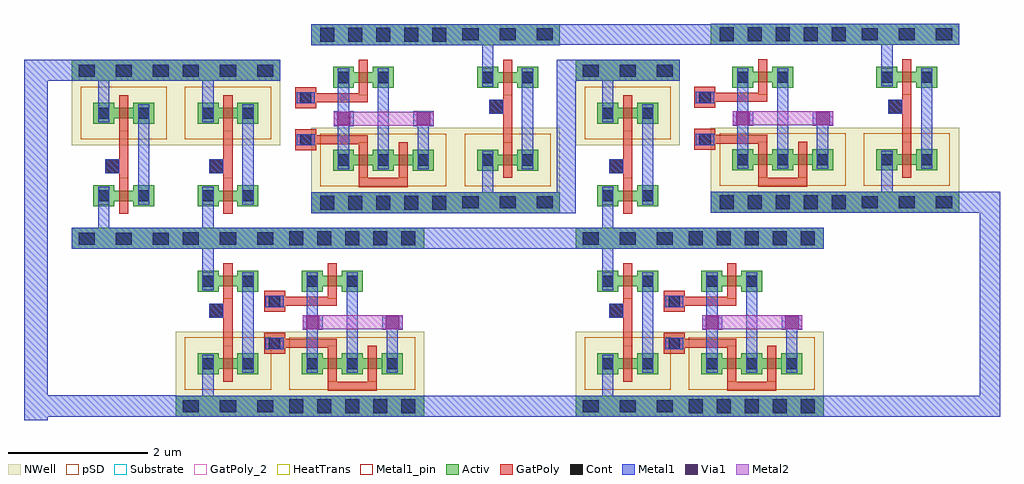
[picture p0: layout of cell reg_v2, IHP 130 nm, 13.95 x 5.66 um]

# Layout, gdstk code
import gdstk
lib = gdstk.Library(unit=1e-6, precision=5e-09)
def R(c, l, rs):  # rectangles x0, y0, x1, y1
    for r in rs: c.add(gdstk.rectangle(r[:2], r[2:], *l))
def A(c, l, x, y, w, h, nx, ny, dx, dy):  # array of equal rectangles
    R(c, l, [(x+i*dx, y+j*dy, x+i*dx+w, y+j*dy+h) for i in range(nx) for j in range(ny)])
Activ = (1, 0)
GatPoly = (5, 0)
GatPoly_2 = (5, 2)
Cont = (6, 0)
Metal1 = (8, 0)
Metal1_pin = (8, 2)
Metal2 = (10, 0)
pSD = (14, 0)
Via1 = (19, 0)
NWell = (31, 0)
Substrate = (40, 0)
HeatTrans = (51, 0)

pmos = lib.new_cell('pmos')
A(pmos, Activ, 0, 0, 0.3, 0.3, 3, 1, 0.57, 0)
R(pmos, Activ, [(0,0.075,1.44,0.225)])
R(pmos, GatPoly, [(0.37,-0.105,0.5,0.405), (0.37,-0.105,0.5,0.405), (0.94,-0.105,1.07,0.405)])
A(pmos, Cont, 0.07, 0.07, 0.16, 0.16, 3, 1, 0.57, 0)
R(pmos, Metal1, [(0.07,0.02,0.23,0.28), (0.07,0.02,0.23,0.28), (0.64,0.02,0.8,0.28), (0.64,0.02,0.8,0.28), (1.21,0.02,1.37,0.28)])
R(pmos, pSD, [(-0.18,-0.225,1.62,0.525)])
R(pmos, NWell, [(-0.31,-0.31,1.75,0.61)])
R(pmos, Substrate, [(1.14,0,1.44,0.3)])
R(pmos, HeatTrans, [(0.37,-0.105,0.5,0.405), (0.94,-0.105,1.07,0.405)])
pmos.add(gdstk.Label('pmos', (0.435,0.15), layer=63, texttype=0))
pmos.add(gdstk.Label('pmos', (0.435,0.15), layer=51, texttype=0))
pmos.add(gdstk.Label('pmos', (1.005,0.15), layer=51, texttype=0))

via_stack_1 = lib.new_cell('via_stack$1')
R(via_stack_1, GatPoly, [(-0.15,-0.15,0.15,0.15)])
R(via_stack_1, Cont, [(-0.08,-0.08,0.08,0.08)])
R(via_stack_1, Metal1, [(-0.13,-0.08,0.13,0.08)])

nmos = lib.new_cell('nmos')
R(nmos, Activ, [(0,0,0.3,0.3), (0.57,0,0.87,0.3), (0,0.075,0.87,0.225)])
R(nmos, GatPoly, [(0.37,-0.105,0.5,0.405)])
R(nmos, GatPoly_2, [(0.37,-0.105,0.5,0.405)])
R(nmos, Cont, [(0.07,0.07,0.23,0.23), (0.64,0.07,0.8,0.23)])
R(nmos, Metal1, [(0.07,0.02,0.23,0.28), (0.64,0.02,0.8,0.28)])
R(nmos, Metal1_pin, [(0.07,0.02,0.23,0.28), (0.64,0.02,0.8,0.28)])
R(nmos, HeatTrans, [(0.37,-0.105,0.5,0.405)])
nmos.add(gdstk.Label('nmos', (0.435,0.15), layer=63, texttype=0))
nmos.add(gdstk.Label('nmos', (0.435,0.15), layer=51, texttype=0))

via_stack_2 = lib.new_cell('via_stack$2')
R(via_stack_2, Metal1, [(-0.145,-0.105,0.145,0.105)])
R(via_stack_2, Metal2, [(-0.145,-0.1,0.145,0.1)])
R(via_stack_2, Via1, [(-0.095,-0.095,0.095,0.095)])

pmos_1 = lib.new_cell('pmos$1')
A(pmos_1, Activ, 0, 0, 0.3, 0.3, 3, 1, 0.57, 0)
R(pmos_1, Activ, [(0,0.075,1.44,0.225)])
R(pmos_1, GatPoly, [(0.37,-0.105,0.5,0.405), (0.37,-0.105,0.5,0.405), (0.94,-0.105,1.07,0.405)])
A(pmos_1, Cont, 0.07, 0.07, 0.16, 0.16, 3, 1, 0.57, 0)
R(pmos_1, Metal1, [(0.07,0.02,0.23,0.28), (0.07,0.02,0.23,0.28), (0.64,0.02,0.8,0.28), (0.64,0.02,0.8,0.28), (1.21,0.02,1.37,0.28)])
R(pmos_1, pSD, [(-0.18,-0.225,1.62,0.525)])
R(pmos_1, NWell, [(-0.31,-0.31,1.75,0.61)])
R(pmos_1, Substrate, [(1.14,0,1.44,0.3)])
R(pmos_1, HeatTrans, [(0.37,-0.105,0.5,0.405), (0.94,-0.105,1.07,0.405)])
pmos_1.add(gdstk.Label('pmos', (0.435,0.15), layer=63, texttype=0))
pmos_1.add(gdstk.Label('pmos', (0.435,0.15), layer=51, texttype=0))
pmos_1.add(gdstk.Label('pmos', (1.005,0.15), layer=51, texttype=0))

via_stack_1_1 = lib.new_cell('via_stack$1$1')
R(via_stack_1_1, GatPoly, [(-0.15,-0.15,0.15,0.15)])
R(via_stack_1_1, Cont, [(-0.08,-0.08,0.08,0.08)])
R(via_stack_1_1, Metal1, [(-0.13,-0.08,0.13,0.08)])

nmos_1 = lib.new_cell('nmos$1')
R(nmos_1, Activ, [(0,0,0.3,0.3), (0.57,0,0.87,0.3), (0,0.075,0.87,0.225)])
R(nmos_1, GatPoly, [(0.37,-0.105,0.5,0.405)])
R(nmos_1, GatPoly_2, [(0.37,-0.105,0.5,0.405)])
R(nmos_1, Cont, [(0.07,0.07,0.23,0.23), (0.64,0.07,0.8,0.23)])
R(nmos_1, Metal1, [(0.07,0.02,0.23,0.28), (0.64,0.02,0.8,0.28)])
R(nmos_1, Metal1_pin, [(0.07,0.02,0.23,0.28), (0.64,0.02,0.8,0.28)])
R(nmos_1, HeatTrans, [(0.37,-0.105,0.5,0.405)])
nmos_1.add(gdstk.Label('nmos', (0.435,0.15), layer=63, texttype=0))
nmos_1.add(gdstk.Label('nmos', (0.435,0.15), layer=51, texttype=0))

via_stack_2_1 = lib.new_cell('via_stack$2$1')
R(via_stack_2_1, Metal1, [(-0.145,-0.105,0.145,0.105)])
R(via_stack_2_1, Metal2, [(-0.145,-0.1,0.145,0.1)])
R(via_stack_2_1, Via1, [(-0.095,-0.095,0.095,0.095)])

tg_custom = lib.new_cell('tg_custom')
R(tg_custom, Activ, [(0.205,1.165,2.265,1.465), (0.205,1.165,2.265,1.465), (0.205,3.565,2.265,3.865), (0.205,3.565,2.265,3.865)])
R(tg_custom, GatPoly, [(0.885,1.67,1.015,2.28), (0.885,1.67,1.015,2.28), (0.125,2.15,1.015,2.28), (0.125,2.15,1.015,2.28), (0.125,2.75,1.015,2.88), (0.125,2.75,1.015,2.88), (0.885,2.75,1.015,3.36), (0.885,2.75,1.015,3.36), (0.885,3.36,1.585,3.49), (0.885,3.36,1.585,3.49)])
R(tg_custom, Cont, [(0.335,1.215,0.535,1.415), (0.335,1.215,0.535,1.415), (0.735,1.215,0.935,1.415), (0.735,1.215,0.935,1.415), (1.135,1.215,1.335,1.415), (1.135,1.215,1.335,1.415), (1.535,1.215,1.735,1.415), (1.535,1.215,1.735,1.415), (1.935,1.215,2.135,1.415), (1.935,1.215,2.135,1.415), (0.335,3.615,0.535,3.815), (0.335,3.615,0.535,3.815), (0.735,3.615,0.935,3.815), (0.735,3.615,0.935,3.815), (1.135,3.615,1.335,3.815), (1.135,3.615,1.335,3.815), (1.535,3.615,1.735,3.815), (1.535,3.615,1.735,3.815), (1.935,3.615,2.135,3.815), (1.935,3.615,2.135,3.815)])
R(tg_custom, Metal1, [(0.205,1.165,2.265,1.465), (0.205,1.165,2.265,1.465), (0.585,1.795,0.745,3.235), (0.585,1.795,0.745,3.235), (1.155,1.795,1.315,3.235), (1.155,1.795,1.315,3.235), (1.725,2.41,1.885,3.235), (1.725,2.41,1.885,3.235), (0.205,3.565,2.265,3.865), (0.205,3.565,2.265,3.865)])
R(tg_custom, Metal1_pin, [(0.205,1.165,2.265,1.465), (0.205,1.165,2.265,1.465), (0.585,1.795,0.745,3.235), (0.585,1.795,0.745,3.235), (1.155,1.795,1.315,3.235), (1.155,1.795,1.315,3.235), (0.205,3.565,2.265,3.865), (0.205,3.565,2.265,3.865)])
R(tg_custom, Metal2, [(0.525,2.415,1.955,2.615), (0.525,2.415,1.955,2.615)])
R(tg_custom, pSD, [(0.205,1.165,2.265,1.465), (0.205,1.165,2.265,1.465)])
R(tg_custom, NWell, [(0.205,3.565,2.265,3.865), (0.205,3.565,2.265,3.865)])
tg_custom.add(gdstk.Reference(pmos, (0.515,2.955)))
tg_custom.add(gdstk.Reference(via_stack_1, (0.125,2.815)))
tg_custom.add(gdstk.Reference(via_stack_1, (0.125,2.215)))
tg_custom.add(gdstk.Reference(nmos, (0.515,1.775)))
tg_custom.add(gdstk.Reference(via_stack_2, (0.67,2.515)))
tg_custom.add(gdstk.Reference(via_stack_2, (1.81,2.515)))
tg_custom.add(gdstk.Reference(pmos_1, (0.515,2.955)))
tg_custom.add(gdstk.Reference(via_stack_1_1, (0.125,2.815)))
tg_custom.add(gdstk.Reference(via_stack_1_1, (0.125,2.215)))
tg_custom.add(gdstk.Reference(nmos_1, (0.515,1.775)))
tg_custom.add(gdstk.Reference(via_stack_2_1, (0.67,2.515)))
tg_custom.add(gdstk.Reference(via_stack_2_1, (1.81,2.515)))
tg_custom.add(gdstk.Label('VIN', (0.605,2.62), layer=8, texttype=25))
tg_custom.add(gdstk.Label('VOUT', (1.16,2.25), layer=8, texttype=25))
tg_custom.add(gdstk.Label('VSN', (0.125,2.215), layer=8, texttype=25))
tg_custom.add(gdstk.Label('VBN', (1.335,1.315), layer=8, texttype=25))
tg_custom.add(gdstk.Label('VSP', (0.125,2.815), layer=8, texttype=25))
tg_custom.add(gdstk.Label('VBP', (1.235,3.715), layer=8, texttype=25))
tg_custom.add(gdstk.Label('VIN', (0.605,2.62), layer=8, texttype=25))
tg_custom.add(gdstk.Label('VOUT', (1.16,2.25), layer=8, texttype=25))
tg_custom.add(gdstk.Label('VSN', (0.125,2.215), layer=8, texttype=25))
tg_custom.add(gdstk.Label('VBN', (1.335,1.315), layer=8, texttype=25))
tg_custom.add(gdstk.Label('VSP', (0.125,2.815), layer=8, texttype=25))
tg_custom.add(gdstk.Label('VBP', (1.235,3.715), layer=8, texttype=25))

pmos_1_1 = lib.new_cell('pmos$1$1')
R(pmos_1_1, Activ, [(0,0,0.3,0.3), (0.57,0,0.87,0.3), (0,0.075,0.87,0.225)])
R(pmos_1_1, GatPoly, [(0.37,-0.105,0.5,0.405), (0.37,-0.105,0.5,0.405)])
R(pmos_1_1, Cont, [(0.07,0.07,0.23,0.23), (0.64,0.07,0.8,0.23)])
R(pmos_1_1, Metal1, [(0.07,0.02,0.23,0.28), (0.07,0.02,0.23,0.28), (0.64,0.02,0.8,0.28), (0.64,0.02,0.8,0.28)])
R(pmos_1_1, pSD, [(-0.18,-0.225,1.05,0.525)])
R(pmos_1_1, NWell, [(-0.31,-0.31,1.18,0.61)])
R(pmos_1_1, Substrate, [(0.57,0,0.87,0.3)])
R(pmos_1_1, HeatTrans, [(0.37,-0.105,0.5,0.405)])
pmos_1_1.add(gdstk.Label('pmos', (0.435,0.15), layer=63, texttype=0))
pmos_1_1.add(gdstk.Label('pmos', (0.435,0.15), layer=51, texttype=0))

nmos_1_1 = lib.new_cell('nmos$1$1')
R(nmos_1_1, Activ, [(0,0,0.3,0.3), (0.57,0,0.87,0.3), (0,0.075,0.87,0.225)])
R(nmos_1_1, GatPoly, [(0.37,-0.105,0.5,0.405)])
R(nmos_1_1, GatPoly_2, [(0.37,-0.105,0.5,0.405)])
R(nmos_1_1, Cont, [(0.07,0.07,0.23,0.23), (0.64,0.07,0.8,0.23)])
R(nmos_1_1, Metal1, [(0.07,0.02,0.23,0.28), (0.64,0.02,0.8,0.28)])
R(nmos_1_1, Metal1_pin, [(0.07,0.02,0.23,0.28), (0.64,0.02,0.8,0.28)])
R(nmos_1_1, HeatTrans, [(0.37,-0.105,0.5,0.405)])
nmos_1_1.add(gdstk.Label('nmos', (0.435,0.15), layer=63, texttype=0))
nmos_1_1.add(gdstk.Label('nmos', (0.435,0.15), layer=51, texttype=0))

pmos_1_2 = lib.new_cell('pmos$1$2')
R(pmos_1_2, Activ, [(0,0,0.3,0.3), (0.57,0,0.87,0.3), (0,0.075,0.87,0.225)])
R(pmos_1_2, GatPoly, [(0.37,-0.105,0.5,0.405), (0.37,-0.105,0.5,0.405)])
R(pmos_1_2, Cont, [(0.07,0.07,0.23,0.23), (0.64,0.07,0.8,0.23)])
R(pmos_1_2, Metal1, [(0.07,0.02,0.23,0.28), (0.07,0.02,0.23,0.28), (0.64,0.02,0.8,0.28), (0.64,0.02,0.8,0.28)])
R(pmos_1_2, pSD, [(-0.18,-0.225,1.05,0.525)])
R(pmos_1_2, NWell, [(-0.31,-0.31,1.18,0.61)])
R(pmos_1_2, Substrate, [(0.57,0,0.87,0.3)])
R(pmos_1_2, HeatTrans, [(0.37,-0.105,0.5,0.405)])
pmos_1_2.add(gdstk.Label('pmos', (0.435,0.15), layer=63, texttype=0))
pmos_1_2.add(gdstk.Label('pmos', (0.435,0.15), layer=51, texttype=0))

nmos_1_2 = lib.new_cell('nmos$1$2')
R(nmos_1_2, Activ, [(0,0,0.3,0.3), (0.57,0,0.87,0.3), (0,0.075,0.87,0.225)])
R(nmos_1_2, GatPoly, [(0.37,-0.105,0.5,0.405)])
R(nmos_1_2, GatPoly_2, [(0.37,-0.105,0.5,0.405)])
R(nmos_1_2, Cont, [(0.07,0.07,0.23,0.23), (0.64,0.07,0.8,0.23)])
R(nmos_1_2, Metal1, [(0.07,0.02,0.23,0.28), (0.64,0.02,0.8,0.28)])
R(nmos_1_2, Metal1_pin, [(0.07,0.02,0.23,0.28), (0.64,0.02,0.8,0.28)])
R(nmos_1_2, HeatTrans, [(0.37,-0.105,0.5,0.405)])
nmos_1_2.add(gdstk.Label('nmos', (0.435,0.15), layer=63, texttype=0))
nmos_1_2.add(gdstk.Label('nmos', (0.435,0.15), layer=51, texttype=0))

inv = lib.new_cell('inv')
R(inv, Activ, [(0.24,0.255,1.73,0.555), (0.24,0.255,1.73,0.555), (0.24,2.655,1.73,2.955), (0.24,2.655,1.73,2.955)])
R(inv, GatPoly, [(0.92,0.76,1.05,2.45), (0.92,0.76,1.05,2.45), (0.72,1.335,0.92,1.535), (0.72,1.335,0.92,1.535)])
R(inv, Cont, [(0.34,0.315,0.57,0.485), (0.34,0.315,0.57,0.485), (0.87,0.315,1.1,0.485), (0.87,0.315,1.1,0.485), (1.4,0.315,1.63,0.485), (1.4,0.315,1.63,0.485), (0.72,1.335,0.92,1.535), (0.72,1.335,0.92,1.535), (0.34,2.715,0.57,2.885), (0.34,2.715,0.57,2.885), (0.87,2.715,1.1,2.885), (0.87,2.715,1.1,2.885), (1.4,2.715,1.63,2.885), (1.4,2.715,1.63,2.885)])
R(inv, Metal1, [(0.24,0.255,1.73,0.555), (0.24,0.255,1.73,0.555), (0.62,0.255,0.78,1.145), (0.62,0.255,0.78,1.145), (1.19,0.885,1.35,2.325), (1.19,0.885,1.35,2.325), (0.72,1.335,0.92,1.535), (0.72,1.335,0.92,1.535), (0.62,2.065,0.78,2.955), (0.62,2.065,0.78,2.955), (0.24,2.655,1.73,2.955), (0.24,2.655,1.73,2.955)])
R(inv, Metal1_pin, [(0.24,0.255,1.73,0.555), (0.24,0.255,1.73,0.555), (1.19,0.885,1.35,2.325), (1.19,0.885,1.35,2.325), (0.72,1.335,0.92,1.535), (0.72,1.335,0.92,1.535), (0.24,2.655,1.73,2.955), (0.24,2.655,1.73,2.955)])
R(inv, pSD, [(0.24,0.255,1.73,0.555), (0.24,0.255,1.73,0.555)])
R(inv, NWell, [(0.24,2.655,1.73,2.955), (0.24,2.655,1.73,2.955)])
inv.add(gdstk.Reference(pmos_1_1, (0.55,2.045)))
inv.add(gdstk.Reference(nmos_1_1, (0.55,0.865)))
inv.add(gdstk.Reference(pmos_1_2, (0.55,2.045)))
inv.add(gdstk.Reference(nmos_1_2, (0.55,0.865)))
inv.add(gdstk.Label('VIN', (0.78,1.435), layer=8, texttype=25))
inv.add(gdstk.Label('VSS', (0.95,0.37), layer=8, texttype=25))
inv.add(gdstk.Label('VOUT', (1.2,1.665), layer=8, texttype=25))
inv.add(gdstk.Label('VDD', (0.96,2.805), layer=8, texttype=25))
inv.add(gdstk.Label('VIN', (0.78,1.435), layer=8, texttype=25))
inv.add(gdstk.Label('VSS', (0.95,0.37), layer=8, texttype=25))
inv.add(gdstk.Label('VOUT', (1.2,1.665), layer=8, texttype=25))
inv.add(gdstk.Label('VDD', (0.96,2.805), layer=8, texttype=25))

reg_v2 = lib.new_cell('reg_v2')
R(reg_v2, Metal1, [(1.4,0.21,1.74,5.355), (1.4,0.255,3.57,0.565), (7.12,0.255,9.28,0.555), (12.83,0.255,15.345,0.555), (15.055,0.255,15.345,3.47), (7.12,2.655,9.28,2.955), (9.01,3.165,9.28,5.355), (14.76,3.17,15.345,3.47), (1.4,5.055,2.08,5.355), (9.01,5.055,9.28,5.355), (9.055,5.57,11.21,5.865)])
reg_v2.add(gdstk.Reference(tg_custom, (4.855,4.12), x_reflection=True))
reg_v2.add(gdstk.Reference(inv, (3.33,2.4)))
reg_v2.add(gdstk.Reference(inv, (3.33,3.21), x_reflection=True))
reg_v2.add(gdstk.Reference(inv, (1.84,2.4)))
reg_v2.add(gdstk.Reference(inv, (7.325,6.12), x_reflection=True))
reg_v2.add(gdstk.Reference(inv, (9.04,2.4)))
reg_v2.add(gdstk.Reference(tg_custom, (5.3,7.03), x_reflection=True))
reg_v2.add(gdstk.Reference(tg_custom, (11.005,7.035), x_reflection=True))
reg_v2.add(gdstk.Reference(tg_custom, (10.565,4.12), x_reflection=True))
reg_v2.add(gdstk.Reference(inv, (9.04,3.21), x_reflection=True))
reg_v2.add(gdstk.Reference(inv, (13.03,6.125), x_reflection=True))

lib.write_gds('reg_v2.gds')
